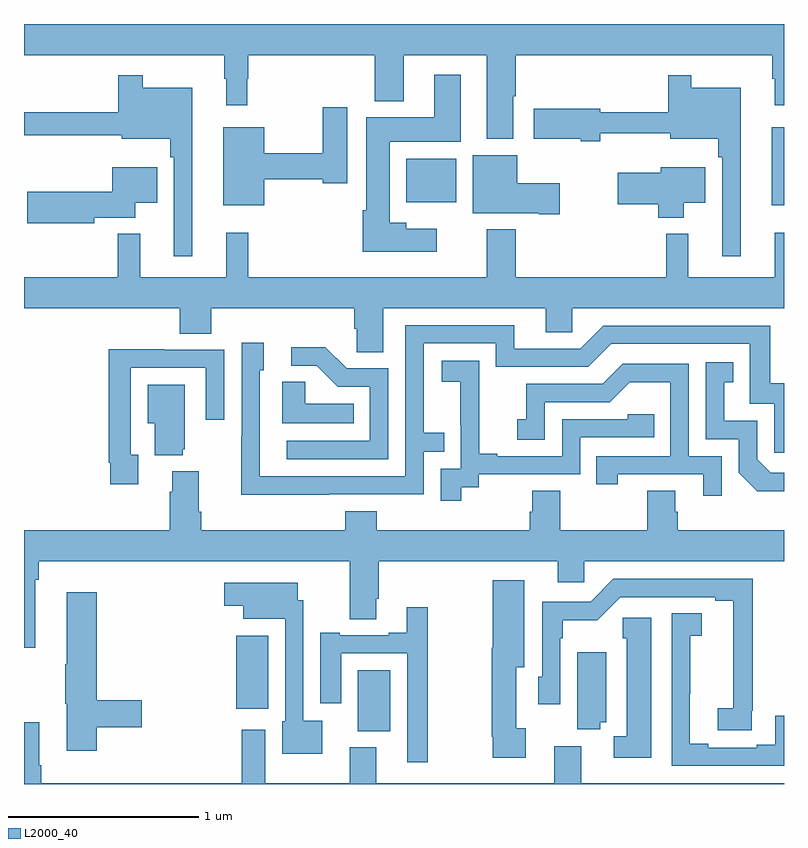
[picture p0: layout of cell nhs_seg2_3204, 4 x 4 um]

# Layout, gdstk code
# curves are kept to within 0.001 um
import gdstk
lib = gdstk.Library(unit=1e-6, precision=1e-09)
def R(c, l, rs):  # rectangles x0, y0, x1, y1
    for r in rs: c.add(gdstk.rectangle(r[:2], r[2:], *l))
def P(c, l, *ps):  # polygons
    for p in ps: c.add(gdstk.Polygon(p, *l))
L2000_40 = (2000, 40)

nhs_seg2_3204 = lib.new_cell('nhs_seg2_3204')
R(nhs_seg2_3204, L2000_40, [(280.757,644.078,280.927,644.398), (280.118,644.195,280.285,644.581), (282.935,646.847,283,647.257), (281.012,646.862,281.275,647.092)])
P(nhs_seg2_3204, L2000_40, [(281.575,647.421),(281.588,647.421),(281.588,647.636),(282.939,647.636),(282.939,647.513),(282.95,647.513),(282.95,647.373),(283,647.373),(283,647.8),(279,647.8),(279,647.636),(280.053,647.636),(280.053,647.513),(280.064,647.513),(280.064,647.373),(280.174,647.373),(280.174,647.513),(280.181,647.513),(280.181,647.636),(280.847,647.636),(280.847,647.393),(280.999,647.393),(280.999,647.636),(281.435,647.636),(281.435,647.195),(281.575,647.195)],
  [(281.173,646.723),(281.011,646.723),(281.011,646.753),(280.924,646.753),(280.924,647.18),(281.299,647.18),(281.299,647.533),(281.159,647.533),(281.159,647.308),(280.802,647.308),(280.802,646.819),(280.784,646.819),(280.784,646.601),(281.173,646.601)],
  [(282.772,647.464),(282.511,647.464),(282.511,647.53),(282.39,647.53),(282.39,647.335),(282.034,647.335),(282.034,647.353),(281.682,647.353),(281.682,647.195),(281.93,647.195),(281.93,647.183),(282.034,647.183),(282.034,647.225),(282.401,647.225),(282.401,647.195),(282.655,647.195),(282.655,647.099),(282.675,647.099),(282.675,646.578),(282.772,646.578)],
  [(279.886,647.464),(279.625,647.464),(279.625,647.53),(279.496,647.53),(279.496,647.335),(279,647.335),(279,647.214),(279.515,647.214),(279.515,647.195),(279.769,647.195),(279.769,647.099),(279.789,647.099),(279.789,646.578),(279.886,646.578)],
  [(280.264,646.984),(280.573,646.984),(280.573,646.961),(280.702,646.961),(280.702,647.362),(280.573,647.362),(280.573,647.12),(280.264,647.12),(280.264,647.257),(280.049,647.257),(280.049,646.847),(280.264,646.847)],
  [(281.821,646.963),(281.596,646.963),(281.596,647.11),(281.363,647.11),(281.363,646.805),(281.708,646.805),(281.708,646.798),(281.821,646.798)],
  [(282.472,646.859),(282.586,646.859),(282.586,647.047),(282.35,647.047),(282.35,647.017),(282.126,647.017),(282.126,646.852),(282.338,646.852),(282.338,646.781),(282.472,646.781)],
  [(279.37,646.781),(279.586,646.781),(279.586,646.859),(279.7,646.859),(279.7,647.047),(279.464,647.047),(279.464,646.917),(279.018,646.917),(279.018,646.751),(279.37,646.751)],
  [(281.747,646.177),(281.886,646.177),(281.886,646.304),(283,646.304),(283,646.702),(282.95,646.702),(282.95,646.468),(282.497,646.468),(282.497,646.696),(282.379,646.696),(282.379,646.468),(281.588,646.468),(281.588,646.72),(281.435,646.72),(281.435,646.468),(280.181,646.468),(280.181,646.702),(280.064,646.702),(280.064,646.468),(279.611,646.468),(279.611,646.696),(279.493,646.696),(279.493,646.468),(279,646.468),(279,646.304),(279.821,646.304),(279.821,646.171),(279.986,646.171),(279.986,646.304),(280.739,646.304),(280.739,646.195),(280.752,646.195),(280.752,646.072),(280.891,646.072),(280.891,646.304),(281.747,646.304)],
  [(280.607,645.324),(281.103,645.324),(281.103,645.549),(281.213,645.549),(281.213,645.65),(281.103,645.65),(281.103,646.119),(281.484,646.119),(281.484,645.996),(281.97,645.996),(282.09,646.116),(282.819,646.116),(282.819,645.801),(282.948,645.801),(282.948,645.543),(283,645.543),(283,645.91),(282.928,645.91),(282.928,646.212),(282.048,646.212),(281.928,646.092),(281.581,646.092),(281.581,646.215),(281.007,646.215),(281.007,645.42),(280.242,645.42),(280.242,645.978),(280.261,645.978),(280.261,646.123),(280.146,646.123),(280.146,645.629),(280.144,645.629),(280.144,645.323)],
  [(280.917,645.987),(280.698,645.987),(280.585,646.1),(280.407,646.1),(280.407,646.002),(280.541,646.002),(280.652,645.891),(280.821,645.891),(280.821,645.606),(280.383,645.606),(280.383,645.51),(280.917,645.51)],
  [(279.601,645.534),(279.561,645.534),(279.561,645.99),(279.957,645.99),(279.957,645.717),(280.053,645.717),(280.053,646.086),(279.737,646.086),(279.737,646.088),(279.445,646.088),(279.445,645.49),(279.453,645.49),(279.453,645.378),(279.601,645.378)],
  [(281.302,645.361),(281.394,645.361),(281.394,645.429),(281.928,645.429),(281.928,645.624),(282.317,645.624),(282.317,645.747),(282.177,645.747),(282.177,645.72),(281.832,645.72),(281.832,645.525),(281.491,645.525),(281.491,645.538),(281.396,645.538),(281.396,645.821),(281.397,645.821),(281.397,646.027),(281.199,646.027),(281.199,645.917),(281.297,645.917),(281.297,645.689),(281.298,645.689),(281.298,645.459),(281.193,645.459),(281.193,645.291),(281.302,645.291)],
  [(283,645.438),(282.93,645.438),(282.858,645.51),(282.858,645.711),(282.685,645.711),(282.685,645.915),(282.734,645.915),(282.734,646.021),(282.588,646.021),(282.588,645.615),(282.762,645.615),(282.762,645.438),(282.86,645.341),(283,645.341)],
  [(282.672,645.525),(282.498,645.525),(282.498,646.011),(282.152,646.011),(282.047,645.906),(281.644,645.906),(281.644,645.721),(281.595,645.721),(281.595,645.612),(281.742,645.612),(281.742,645.81),(282.084,645.81),(282.188,645.914),(282.402,645.914),(282.402,645.525),(282.013,645.525),(282.013,645.378),(282.124,645.378),(282.124,645.429),(282.575,645.429),(282.575,645.318),(282.672,645.318)],
  [(280.736,645.802),(280.479,645.802),(280.479,645.917),(280.358,645.917),(280.358,645.698),(280.736,645.698)],
  [(279.836,645.561),(279.847,645.561),(279.847,645.901),(279.65,645.901),(279.65,645.698),(279.689,645.698),(279.689,645.53),(279.836,645.53)],
  [(280.715,644.668),(280.855,644.668),(280.855,644.776),(280.868,644.776),(280.868,644.972),(281.81,644.972),(281.81,644.862),(281.949,644.862),(281.949,644.972),(283,644.972),(283,645.136),(282.44,645.136),(282.44,645.234),(282.427,645.234),(282.427,645.344),(282.28,645.344),(282.28,645.136),(281.823,645.136),(281.823,645.344),(281.675,645.344),(281.675,645.234),(281.663,645.234),(281.663,645.136),(280.856,645.136),(280.856,645.235),(280.691,645.235),(280.691,645.136),(279.932,645.136),(279.932,645.232),(279.919,645.232),(279.919,645.445),(279.779,645.445),(279.779,645.338),(279.767,645.338),(279.767,645.136),(279,645.136),(279,644.517),(279.058,644.517),(279.058,644.876),(279.077,644.876),(279.077,644.972),(280.715,644.972)],
  [(282.83,644.185),(282.836,644.185),(282.836,644.88),(282.102,644.88),(281.982,644.76),(281.727,644.76),(281.727,644.364),(281.706,644.364),(281.706,644.22),(281.823,644.22),(281.823,644.567),(281.836,644.567),(281.836,644.663),(282.017,644.663),(282.138,644.784),(282.638,644.784),(282.638,644.764),(282.734,644.764),(282.733,644.198),(282.651,644.198),(282.651,644.083),(282.83,644.083)],
  [(281.641,644.094),(281.59,644.094),(281.59,644.414),(281.632,644.414),(281.632,644.872),(281.468,644.872),(281.468,644.518),(281.461,644.518),(281.461,644.05),(281.468,644.05),(281.468,643.938),(281.641,643.938)],
  [(280.57,644.134),(280.47,644.134),(280.47,644.767),(280.441,644.767),(280.441,644.86),(280.053,644.86),(280.053,644.738),(280.154,644.738),(280.154,644.669),(280.374,644.669),(280.374,644.13),(280.358,644.13),(280.358,643.958),(280.57,643.958)],
  [(279.383,644.098),(279.619,644.098),(279.619,644.24),(279.383,644.24),(279.383,644.809),(279.224,644.809),(279.224,644.429),(279.217,644.429),(279.217,644.223),(279.224,644.223),(279.224,643.974),(279.383,643.974)],
  [(281.125,644.731),(281.015,644.731),(281.015,644.596),(280.919,644.596),(280.919,644.583),(280.663,644.583),(280.663,644.596),(280.559,644.596),(280.559,644.226),(280.669,644.226),(280.669,644.487),(281.016,644.487),(281.016,643.914),(281.125,643.914)],
  [(283,644.159),(282.954,644.159),(282.954,644.006),(282.857,644.006),(282.857,643.992),(282.601,643.992),(282.601,644.012),(282.505,644.012),(282.505,644.275),(282.507,644.275),(282.507,644.579),(282.568,644.579),(282.568,644.699),(282.408,644.699),(282.408,643.896),(283,643.896)],
  [(282.301,644.674),(282.151,644.674),(282.151,644.568),(282.173,644.568),(282.173,644.052),(282.105,644.052),(282.105,643.937),(282.301,643.937)],
  [(282.032,644.126),(282.064,644.126),(282.064,644.494),(281.912,644.494),(281.912,644.089),(282.032,644.089)],
  [(283,643.804),(281.932,643.804),(281.932,643.999),(281.792,643.999),(281.792,643.804),(280.855,643.804),(280.855,643.993),(280.715,643.993),(280.715,643.804),(280.27,643.804),(280.27,644.086),(280.145,644.086),(280.145,643.804),(279.092,643.804),(279.092,643.9),(279.079,643.9),(279.079,644.125),(279,644.125),(279,643.8),(283,643.8)])

lib.write_gds('nhs_seg2_3204.gds')
